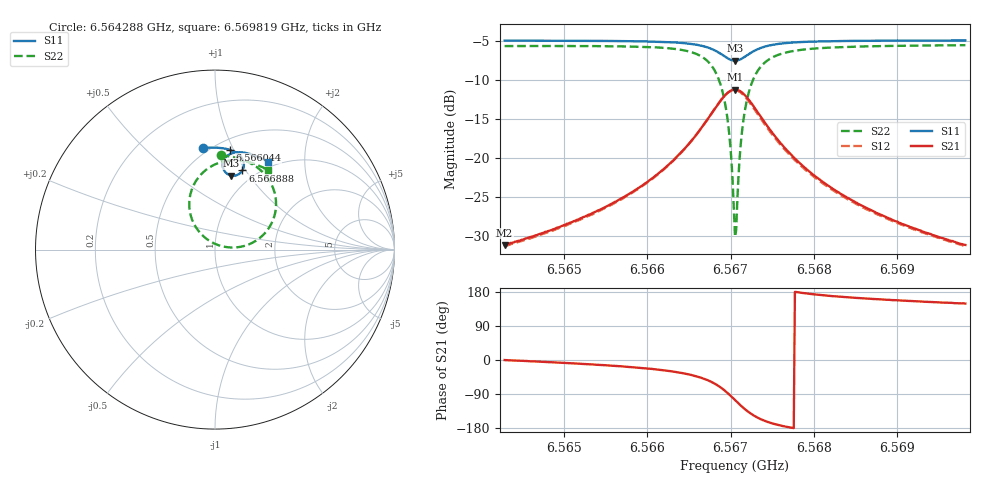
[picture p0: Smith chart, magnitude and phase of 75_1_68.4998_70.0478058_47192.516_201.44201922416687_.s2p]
#  HZ  S  RI  R  50.00
! Rohde & Schwarz Vector Network Analyzer
! Rohde-Schwarz,ZNB20-2Port,1311601062101988,3.16
! Created: UTC 3/20/2024, 5:07:03 PM
! freq[Hz]  re:S11  im:S11  re:S21  im:S21  re:S12  im:S12  re:S22  im:S22
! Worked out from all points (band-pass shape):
!   401 points, 6.564288 GHz to 6.569819 GHz, reference 50 ohm
!   highest |S21| = -11.19 dB at 6.567054 GHz (marker M1); lowest = -31.2 dB at 6.564288 GHz (marker M2)
!   |S21| within 3 dB of the highest: 6.566777 GHz to 6.567331 GHz (553.1 kHz wide, 0.00842 % of centre)
!   lowest |S11| = -7.5 dB at 6.567054 GHz (marker M3), VSWR 2.46, Z = 41.1 + j41.3 ohm
!   |S11| at or under -10 dB: nowhere
!   |S22| runs from -30.1 to -5.5 dB; largest |S21 - S12| = 0.013
!   S11 on the Smith chart (normalised r, x): 6.564288 GHz: 0.46, +0.77; 6.566044 GHz: 0.60, +0.97; 6.566888 GHz: 0.86, +0.97; 6.569819 GHz: 0.92, +1.33
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6.5642881e9  -0.0682 0.5649  0.0275 -3.71e-05  0.027 -0.000646  0.0312 0.5244
6.5652146e9  0.00743 0.5679  0.0405 -0.0072  0.0399 -0.00772  0.1181 0.5119
6.5660443e9  0.084 0.5555  0.067 -0.0289  0.0659 -0.0296  0.2234 0.4663
6.5661411e9  0.0941 0.5521  0.0722 -0.0346  0.071 -0.0354  0.2394 0.4548
6.5664453e9  0.1289 0.5332  0.0928 -0.0662  0.0914 -0.0675  0.298 0.3923
6.5666665e9  0.1541 0.5025  0.1068 -0.1196  0.1042 -0.1218  0.3376 0.2892
6.566791e9  0.1609 0.4717  0.0997 -0.1732  0.0951 -0.1765  0.3307 0.1869
6.5668878e9  0.1524 0.4409  0.0674 -0.2264  0.0601 -0.2293  0.274 0.0873
6.5669707e9  0.1276 0.4177  0.00804 -0.2637  -0.00256 -0.264  0.1652 0.0209
6.5669984e9  0.1157 0.4131  -0.0181 -0.2697  -0.0295 -0.2681  0.1177 0.0122
6.5670399e9  0.096 0.4117  -0.0601 -0.2687  -0.0715 -0.2642  0.0435 0.0176
6.5670537e9  0.0894 0.4128  -0.0739 -0.2656  -0.0851 -0.26  0.0192 0.0245
6.5670675e9  0.0829 0.4145  -0.0874 -0.2612  -0.0983 -0.2546  -0.00419 0.0339
6.5670813e9  0.0768 0.417  -0.1005 -0.2555  -0.1107 -0.2478  -0.0261 0.0457
6.5671228e9  0.0608 0.4281  -0.1343 -0.2315  -0.1423 -0.2219  -0.0821 0.0919
6.5671643e9  0.0498 0.443  -0.1585 -0.2013  -0.1638 -0.1907  -0.1194 0.1477
6.5672196e9  0.0433 0.4644  -0.1754 -0.159  -0.1775 -0.1485  -0.1417 0.2236
6.5672888e9  0.0455 0.4884  -0.178 -0.1124  -0.1773 -0.1031  -0.1378 0.3052
6.5675377e9  0.084 0.5323  -0.1346 -0.0248  -0.1319 -0.0208  -0.0401 0.4516
6.5679801e9  0.1446 0.5424  -0.0784 0.0086  -0.0767 0.0097  0.089 0.4972
6.5689066e9  0.23 0.5207  -0.0379 0.0147  -0.0372 0.0151  0.2187 0.4787
6.5698192e9  0.2968 0.4877  -0.0236 0.0142  -0.0231 0.0143  0.2974 0.4415
